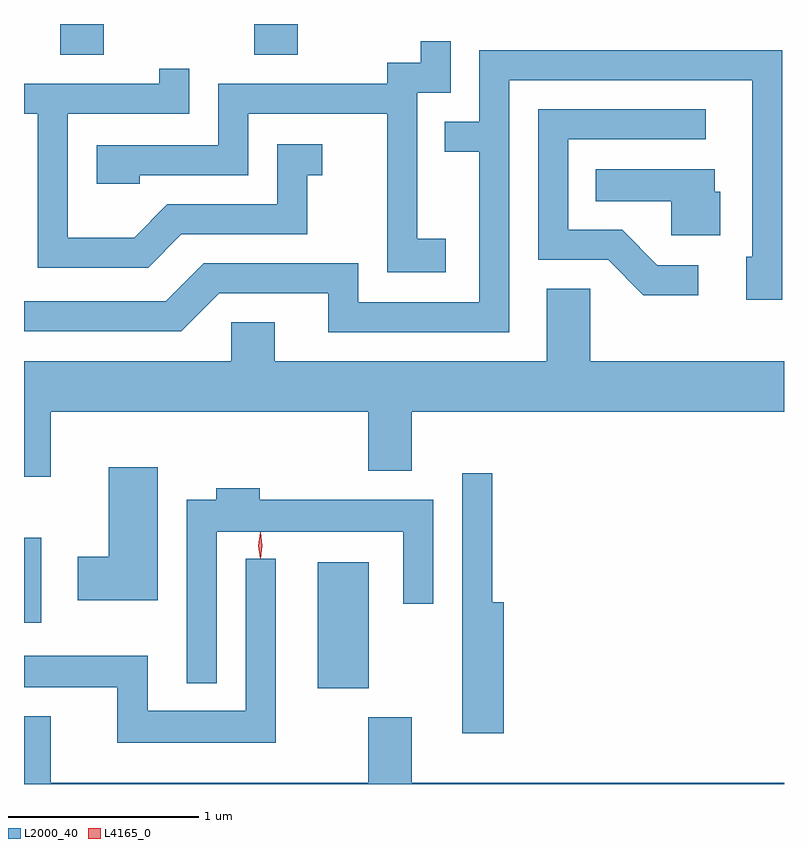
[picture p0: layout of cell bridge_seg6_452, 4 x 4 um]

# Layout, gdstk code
import gdstk
lib = gdstk.Library(unit=1e-6, precision=1e-09)
def R(c, l, rs):  # rectangles x0, y0, x1, y1
    for r in rs: c.add(gdstk.rectangle(r[:2], r[2:], *l))
def P(c, l, *ps):  # polygons
    for p in ps: c.add(gdstk.Polygon(p, *l))
L2000_40 = (2000, 40)
L4165_0 = (4165, 0)

bridge_seg6_452 = lib.new_cell('bridge_seg6_452')
R(bridge_seg6_452, L2000_40, [(702.546,1533.041,702.814,1533.704), (700.999,1533.386,701.089,1533.834), (701.191,1536.376,701.419,1536.538), (702.211,1536.376,702.439,1536.538)])
P(bridge_seg6_452, L2000_40, [(703.219,1535.409),(703.069,1535.409),(703.069,1536.176),(703.244,1536.176),(703.244,1536.448),(703.086,1536.448),(703.086,1536.334),(702.911,1536.334),(702.911,1536.224),(702.021,1536.224),(702.021,1535.899),(701.381,1535.899),(701.381,1535.696),(701.609,1535.696),(701.609,1535.741),(702.179,1535.741),(702.179,1536.066),(702.911,1536.066),(702.911,1535.231),(703.219,1535.231)],
  [(703.554,1536.241),(704.831,1536.241),(704.831,1535.314),(704.801,1535.314),(704.801,1535.086),(704.989,1535.086),(704.989,1536.399),(703.396,1536.399),(703.396,1536.024),(703.213,1536.024),(703.213,1535.866),(703.396,1535.866),(703.396,1535.074),(702.759,1535.074),(702.759,1535.279),(701.944,1535.279),(701.744,1535.079),(700.999,1535.079),(700.999,1534.921),(701.827,1534.921),(702.027,1535.121),(702.601,1535.121),(702.601,1534.916),(703.554,1534.916)],
  [(701.827,1535.431),(702.489,1535.431),(702.489,1535.741),(702.568,1535.741),(702.568,1535.904),(702.331,1535.904),(702.331,1535.589),(701.754,1535.589),(701.579,1535.414),(701.229,1535.414),(701.229,1536.066),(701.869,1536.066),(701.869,1536.303),(701.711,1536.303),(701.711,1536.224),(700.999,1536.224),(700.999,1536.066),(701.071,1536.066),(701.071,1535.256),(701.652,1535.256)],
  [(704.548,1535.269),(704.332,1535.269),(704.147,1535.454),(703.864,1535.454),(703.864,1535.931),(704.588,1535.931),(704.588,1536.089),(703.706,1536.089),(703.706,1535.296),(704.074,1535.296),(704.259,1535.111),(704.548,1535.111)],
  [(704.664,1535.654),(704.634,1535.654),(704.634,1535.774),(704.008,1535.774),(704.008,1535.606),(704.406,1535.606),(704.406,1535.426),(704.664,1535.426)],
  [(701.139,1534.496),(702.811,1534.496),(702.811,1534.186),(703.039,1534.186),(703.039,1534.496),(704.999,1534.496),(704.999,1534.764),(703.979,1534.764),(703.979,1535.144),(703.751,1535.144),(703.751,1534.764),(702.319,1534.764),(702.319,1534.969),(702.091,1534.969),(702.091,1534.764),(700.999,1534.764),(700.999,1534.156),(701.139,1534.156)],
  [(701.704,1534.204),(701.446,1534.204),(701.446,1533.734),(701.281,1533.734),(701.281,1533.506),(701.704,1533.506)],
  [(703.524,1533.494),(703.464,1533.494),(703.464,1534.173),(703.306,1534.173),(703.306,1532.806),(703.524,1532.806)],
  [(702.014,1533.866),(702.996,1533.866),(702.996,1533.488),(703.154,1533.488),(703.154,1534.034),(702.239,1534.034),(702.239,1534.094),(702.011,1534.094),(702.011,1534.034),(701.856,1534.034),(701.856,1533.068),(702.014,1533.068)],
  [(702.324,1533.723),(702.166,1533.723),(702.166,1532.924),(701.649,1532.924),(701.649,1533.214),(700.999,1533.214),(700.999,1533.046),(701.491,1533.046),(701.491,1532.756),(702.324,1532.756)],
  [(704.999,1532.544),(703.039,1532.544),(703.039,1532.889),(702.811,1532.889),(702.811,1532.544),(701.139,1532.544),(701.139,1532.894),(700.999,1532.894),(700.999,1532.538),(704.999,1532.538)])
P(bridge_seg6_452, L4165_0, [(702.242,1533.724),(702.233,1533.793),(702.242,1533.862),(702.243,1533.863),(702.244,1533.862),(702.253,1533.793),(702.244,1533.724),(702.243,1533.724)])

lib.write_gds('bridge_seg6_452.gds')
